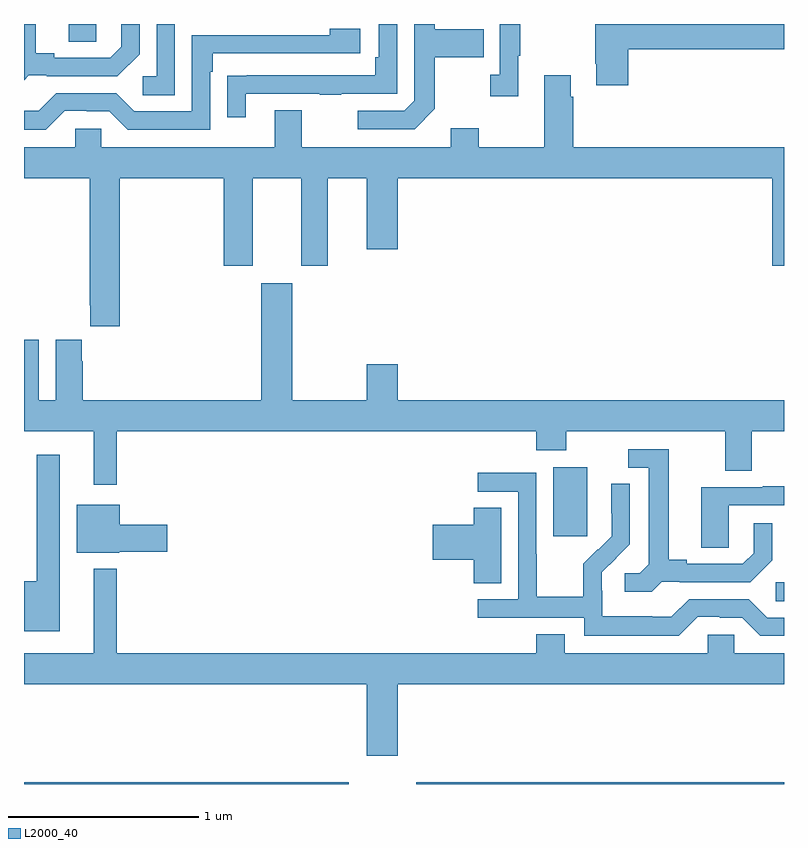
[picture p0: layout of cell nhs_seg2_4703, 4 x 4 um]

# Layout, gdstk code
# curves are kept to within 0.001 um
import gdstk
lib = gdstk.Library(unit=1e-6, precision=1e-09)
def R(c, l, rs):  # rectangles x0, y0, x1, y1
    for r in rs: c.add(gdstk.rectangle(r[:2], r[2:], *l))
def P(c, l, *ps):  # polygons
    for p in ps: c.add(gdstk.Polygon(p, *l))
L2000_40 = (2000, 40)

nhs_seg2_4703 = lib.new_cell('nhs_seg2_4703')
R(nhs_seg2_4703, L2000_40, [(367,625.8,368.708,625.808), (369.064,625.8,371,625.808), (370.956,626.761,371,626.862), (369.785,627.105,369.964,627.466), (367.235,629.707,367.38,629.8)])
P(nhs_seg2_4703, L2000_40, [(369.163,629.353),(369.163,629.626),(369.419,629.626),(369.419,629.773),(369.163,629.773),(369.163,629.8),(369.054,629.8),(369.054,629.397),(369,629.343),(368.757,629.343),(368.757,629.247),(369.057,629.247)],
  [(369.601,629.633),(369.613,629.633),(369.613,629.8),(369.504,629.8),(369.504,629.534),(369.453,629.534),(369.453,629.421),(369.601,629.421)],
  [(367.794,629.8),(367.698,629.8),(367.698,629.526),(367.626,629.526),(367.626,629.425),(367.794,629.425)],
  [(367.026,629.529),(367.12,629.529),(367.12,629.526),(367.492,629.526),(367.608,629.642),(367.608,629.8),(367.511,629.8),(367.511,629.679),(367.454,629.622),(367.159,629.622),(367.159,629.645),(367.063,629.645),(367.063,629.8),(367,629.8),(367,629.503)],
  [(370.181,629.668),(371,629.668),(371,629.8),(370.006,629.8),(370.006,629.59),(370.013,629.59),(370.013,629.478),(370.181,629.478)],
  [(368.167,629.433),(368.557,629.433),(368.557,629.428),(368.669,629.428),(368.669,629.433),(368.964,629.433),(368.964,629.8),(368.868,629.8),(368.868,629.626),(368.848,629.626),(368.848,629.529),(368.173,629.529),(368.173,629.528),(368.071,629.528),(368.071,629.31),(368.167,629.31)],
  [(367.215,629.343),(367.331,629.343),(367.331,629.34),(367.449,629.34),(367.545,629.244),(367.98,629.244),(367.98,629.549),(367.993,629.549),(367.993,629.646),(368.77,629.646),(368.77,629.776),(368.609,629.776),(368.609,629.742),(367.884,629.742),(367.884,629.34),(367.581,629.34),(367.485,629.436),(367.17,629.436),(367.077,629.343),(367,629.343),(367,629.243),(367.115,629.243)],
  [(367.505,628.988),(368.051,628.988),(368.051,628.527),(368.203,628.527),(368.203,628.988),(368.459,628.988),(368.459,628.527),(368.599,628.527),(368.599,628.988),(368.804,628.988),(368.804,628.614),(368.968,628.614),(368.968,628.988),(370.937,628.988),(370.937,628.527),(371,628.527),(371,629.152),(369.89,629.152),(369.89,629.417),(369.877,629.417),(369.877,629.53),(369.737,629.53),(369.737,629.152),(369.393,629.152),(369.393,629.251),(369.245,629.251),(369.245,629.152),(368.461,629.152),(368.461,629.347),(368.321,629.347),(368.321,629.152),(367.407,629.152),(367.407,629.25),(367.269,629.25),(367.269,629.152),(367,629.152),(367,628.988),(367.345,628.988),(367.345,628.321),(367.349,628.321),(367.349,628.209),(367.505,628.209)],
  [(367.489,627.656),(369.695,627.656),(369.695,627.557),(369.855,627.557),(369.855,627.656),(370.691,627.656),(370.691,627.448),(370.831,627.448),(370.831,627.656),(371,627.656),(371,627.82),(368.968,627.82),(368.968,628.009),(368.804,628.009),(368.804,627.82),(368.413,627.82),(368.413,628.435),(368.249,628.435),(368.249,627.82),(367.31,627.82),(367.31,628.025),(367.303,628.025),(367.303,628.138),(367.166,628.138),(367.166,627.82),(367.078,627.82),(367.078,628.138),(367,628.138),(367,627.656),(367.367,627.656),(367.367,627.375),(367.489,627.375)],
  [(370.356,626.865),(370.45,626.865),(370.45,626.862),(370.822,626.862),(370.938,626.978),(370.938,627.172),(370.841,627.172),(370.841,627.015),(370.784,626.958),(370.489,626.958),(370.489,626.981),(370.393,626.981),(370.393,627.561),(370.179,627.561),(370.179,627.465),(370.289,627.465),(370.289,626.957),(370.242,626.91),(370.161,626.91),(370.161,626.813),(370.304,626.813)],
  [(367.189,627.532),(367.068,627.532),(367.068,626.866),(367,626.866),(367,626.603),(367.189,626.603)],
  [(370.545,626.679),(370.661,626.679),(370.661,626.676),(370.779,626.676),(370.875,626.58),(371,626.58),(371,626.676),(370.911,626.676),(370.815,626.772),(370.5,626.772),(370.407,626.679),(370.307,626.679),(370.307,626.683),(370.044,626.683),(370.044,626.817),(370.042,626.817),(370.042,626.914),(370.188,627.062),(370.188,627.38),(370.092,627.38),(370.092,627.226),(370.094,627.226),(370.094,627.104),(370.023,627.033),(370.02,627.036),(369.943,626.959),(369.943,626.785),(369.699,626.785),(369.699,627.008),(369.696,627.008),(369.696,627.438),(369.387,627.438),(369.387,627.339),(369.6,627.339),(369.6,626.772),(369.387,626.772),(369.387,626.676),(369.948,626.676),(369.948,626.579),(370.445,626.579)],
  [(370.71,627.267),(371,627.267),(371,627.367),(370.889,627.367),(370.889,627.363),(370.565,627.363),(370.565,627.043),(370.71,627.043)],
  [(367.5,627.023),(367.753,627.023),(367.753,627.165),(367.504,627.165),(367.504,627.271),(367.277,627.271),(367.277,627.017),(367.5,627.017)],
  [(369.511,627.254),(369.368,627.254),(369.368,627.164),(369.15,627.164),(369.15,626.981),(369.368,626.981),(369.368,626.857),(369.511,626.857)],
  [(368.968,626.324),(371,626.324),(371,626.488),(370.737,626.488),(370.737,626.586),(370.599,626.586),(370.599,626.488),(369.847,626.488),(369.847,626.587),(369.695,626.587),(369.695,626.488),(367.489,626.488),(367.489,626.932),(367.367,626.932),(367.367,626.488),(367,626.488),(367,626.324),(368.804,626.324),(368.804,625.95),(368.968,625.95)])

lib.write_gds('nhs_seg2_4703.gds')
